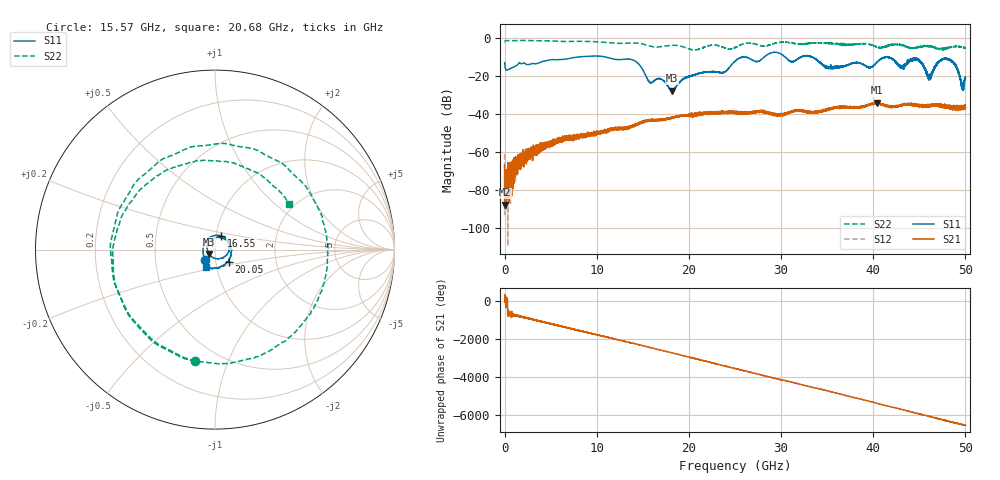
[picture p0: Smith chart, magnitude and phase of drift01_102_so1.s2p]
!Created with skrf (http://scikit-rf.org).
# Hz S RI R 50.0
!freq ReS11 ImS11 ReS21 ImS21 ReS12 ImS12 ReS22 ImS22
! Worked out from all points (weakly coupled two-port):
!   10001 points, 300 kHz to 50 GHz, reference 50 ohm
!   highest |S21| = -34.09 dB at 40.39 GHz (marker M1); lowest = -87.6 dB at 50.3 MHz (marker M2)
!   lowest |S11| = -27.8 dB at 18.13 GHz (marker M3), VSWR 1.09, Z = 46.7 - j2.25 ohm
!   |S11| at or under -10 dB: start of sweep to 8.083 GHz; 10.9 GHz to 25.99 GHz (15.08 GHz wide, 81.8 % of centre); 41.62 GHz to end of sweep (the widest 3 of 15)
!   |S22| runs from -6.4 to -1.4 dB; largest |S21 - S12| = 0.0038
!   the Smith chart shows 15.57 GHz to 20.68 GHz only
!   S11 on the Smith chart (normalised r, x): 15.57 GHz: 0.89, -0.10; 16.55 GHz: 1.06, +0.16; 20.05 GHz: 1.15, -0.16; 20.68 GHz: 0.89, -0.18
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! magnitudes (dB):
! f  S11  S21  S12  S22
! 300 kHz  -13.0  -66.9  -61.1  -2.1
! 50.3 MHz  -14.9  -87.6  -78.0  -1.6
! 255.3 MHz  -16.9  -74.1  -77.3  -1.4
! 2.915 GHz  -13.6  -58.3  -59.1  -1.4
! 8.335 GHz  -9.9  -51.9  -51.2  -1.8
! 13.88 GHz  -11.5  -46.3  -46.8  -2.7
! 15.57 GHz  -22.2  -43.4  -43.1  -4.0
! 16.55 GHz  -21.5  -43.1  -43.0  -4.7
! 16.67 GHz  -21.3  -43.1  -43.1  -4.8
! 18.13 GHz  -27.8  -42.0  -42.0  -3.9
! 20.05 GHz  -19.9  -40.7  -40.8  -5.9
! 20.68 GHz  -19.2  -40.3  -41.0  -6.3
! 25 GHz  -12.2  -39.1  -39.0  -5.1
! 33.34 GHz  -10.1  -39.4  -38.8  -2.7
! 35.24 GHz  -15.1  -37.2  -37.6  -2.9
! 40.39 GHz  -12.9  -34.1  -34.6  -4.8
! 41.67 GHz  -10.3  -36.1  -36.4  -4.3
! 43.08 GHz  -14.8  -35.3  -35.4  -3.7
! 44.81 GHz  -11.4  -35.6  -35.2  -4.9
! 46.1 GHz  -21.1  -35.6  -35.3  -4.4
! 48.09 GHz  -11.2  -36.5  -36.7  -5.1
! 50 GHz  -21.3  -36.5  -36.7  -5.4
